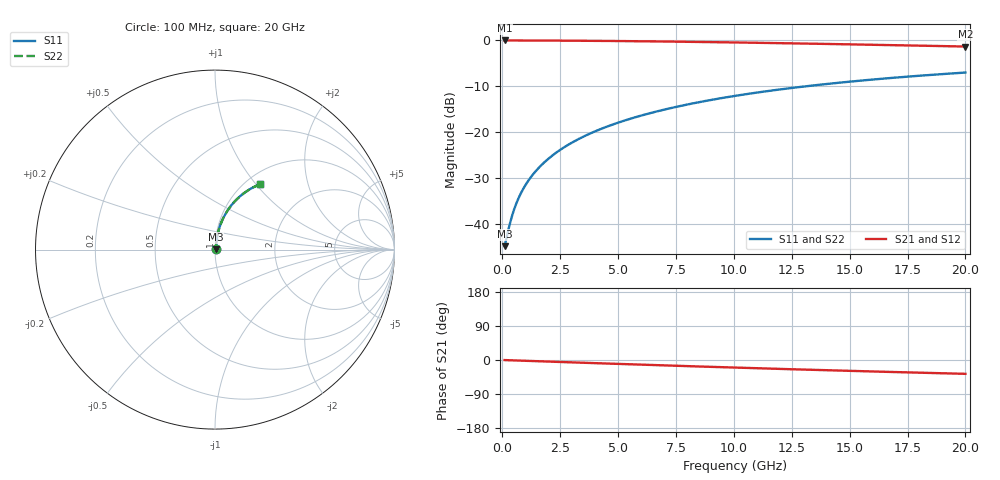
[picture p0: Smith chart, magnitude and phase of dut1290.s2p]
! Touchstone file exported from HFSS 2024.1.0
!  File:  C:/UserFiles/LocalFiles/RDL_TSV_Batchsim/temp_RDL_top_1290_1780242874.aedt
!  Generated:  11:56:53 PM May 31, 2026
!  Design:  RDL_top
!  Project:  temp_RDL_top_1290_1780242874
!  Setup:  Setup1
!  Solution:  Sweep
! Variables:
!  dtsv = 10.80580581um
!  hbump = 3um
!  htsv = 90.48um
!  ldown = 100um
!  lrdl = 432.04um
!  p = 40
!  p1 = 48.37um
!  rhole = 1um
!  t = 450um
!  tdown = 3.915915916um
!  trdl = 2.91um
!  wdown = 15.38538539um
!  wrdl = 10.56um
# GHz S MA R 50.000000
! Terminal data exported
! Port[1] = Box2_T1
! Port[2] = Box2_T2
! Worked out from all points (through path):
!   200 points, 100 MHz to 20 GHz, reference 50 ohm
!   highest |S21| = -0.04 dB at 100 MHz (marker M1); lowest = -1.4 dB at 20 GHz (marker M2)
!   group delay of S21, straight-line fit = 5.08 ps
!   lowest |S11| = -44.9 dB at 100 MHz (marker M3), VSWR 1.01, Z = 50.5 + j0.265 ohm
!   |S11| at or under -10 dB: start of sweep to 13.17 GHz
!   |S22| runs from -44.9 to -7.0 dB; largest |S21 - S12| = 5.1e-15
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0.1  0.005692 27.4  0.9949 -0.2  0.9949 -0.2  0.005692 27.4
! Gamma 0 0 0 0
! Port Impedance 50 0 50 0
0.3  0.009396 56.4  0.9948 -0.6  0.9948 -0.6  0.009396 56.4
0.4  0.01169 63.0  0.9947 -0.9  0.9947 -0.9  0.01169 63.0
0.5  0.01407 67.2  0.9946 -1.1  0.9946 -1.1  0.01407 67.2
0.6  0.0165 70.2  0.9945 -1.3  0.9945 -1.3  0.0165 70.2
0.7  0.01895 72.3  0.9943 -1.5  0.9943 -1.5  0.01895 72.3
0.9  0.02389 75.2  0.9941 -1.9  0.9941 -1.9  0.02389 75.2
1.2  0.03134 77.6  0.9936 -2.5  0.9936 -2.5  0.03134 77.6
1.4  0.03632 78.6  0.9932 -2.9  0.9932 -2.9  0.03632 78.6
1.7  0.04382 79.5  0.9927 -3.6  0.9927 -3.6  0.04382 79.5
2.2  0.05633 80.3  0.9915 -4.6  0.9915 -4.6  0.05633 80.3
2.8  0.07138 80.4  0.9898 -5.8  0.9898 -5.8  0.07137 80.4
3.5  0.08892 80.1  0.9874 -7.3  0.9874 -7.3  0.08892 80.1
4.2  0.1064 79.5  0.9846 -8.7  0.9846 -8.7  0.1064 79.5
5  0.1263 78.5  0.9808 -10.3  0.9808 -10.3  0.1263 78.5
5.9  0.1486 77.3  0.9759 -12.1  0.9759 -12.1  0.1486 77.3
6.8  0.1706 76.0  0.9704 -13.9  0.9704 -13.9  0.1706 76.0
8.3  0.2067 73.7  0.96 -16.7  0.96 -16.7  0.2067 73.7
10.1  0.2487 70.8  0.9461 -20.1  0.9461 -20.1  0.2486 70.8
13.4  0.321 65.4  0.9174 -26.0  0.9174 -26.0  0.321 65.4
16.7  0.3864 60.2  0.8862 -31.4  0.8862 -31.4  0.3864 60.2
20  0.4445 55.2  0.854 -36.5  0.854 -36.5  0.4444 55.2
